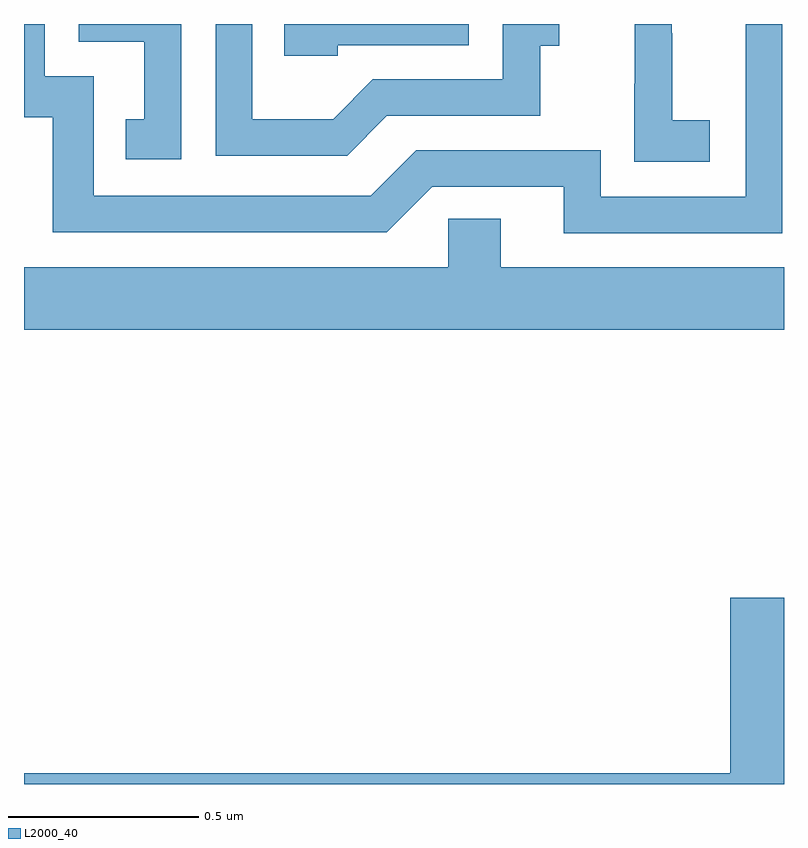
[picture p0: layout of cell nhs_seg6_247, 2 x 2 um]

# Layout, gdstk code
import gdstk
lib = gdstk.Library(unit=1e-6, precision=1e-09)
def P(c, l, *ps):  # polygons
    for p in ps: c.add(gdstk.Polygon(p, *l))
L2000_40 = (2000, 40)

nhs_seg6_247 = lib.new_cell('nhs_seg6_247')
P(nhs_seg6_247, L2000_40, [(114.955,921.258),(115.359,921.258),(115.359,921.443),(115.408,921.443),(115.408,921.5),(115.26,921.5),(115.26,921.354),(114.918,921.354),(114.814,921.25),(114.6,921.25),(114.6,921.5),(114.504,921.5),(114.504,921.153),(114.85,921.153)],
  [(114.825,921.444),(115.17,921.444),(115.17,921.5),(114.685,921.5),(114.685,921.417),(114.825,921.417)],
  [(115.804,921.247),(115.706,921.247),(115.706,921.476),(115.704,921.476),(115.704,921.5),(115.607,921.5),(115.607,921.343),(115.606,921.343),(115.606,921.137),(115.804,921.137)],
  [(114.414,921.5),(114.144,921.5),(114.144,921.453),(114.317,921.453),(114.317,921.249),(114.268,921.249),(114.268,921.144),(114.414,921.144)],
  [(115.995,921.5),(115.899,921.5),(115.899,921.045),(115.518,921.045),(115.518,921.168),(115.032,921.168),(114.912,921.048),(114.183,921.048),(114.183,921.363),(114.054,921.363),(114.054,921.5),(114,921.5),(114,921.255),(114.075,921.255),(114.075,920.952),(114.954,920.952),(115.074,921.072),(115.421,921.072),(115.421,920.949),(115.995,920.949)],
  [(116,920.86),(115.255,920.86),(115.255,920.987),(115.116,920.987),(115.116,920.86),(114,920.86),(114,920.696),(116,920.696)],
  [(116,919.99),(115.859,919.99),(115.859,919.528),(114,919.528),(114,919.5),(116,919.5)])

lib.write_gds('nhs_seg6_247.gds')
